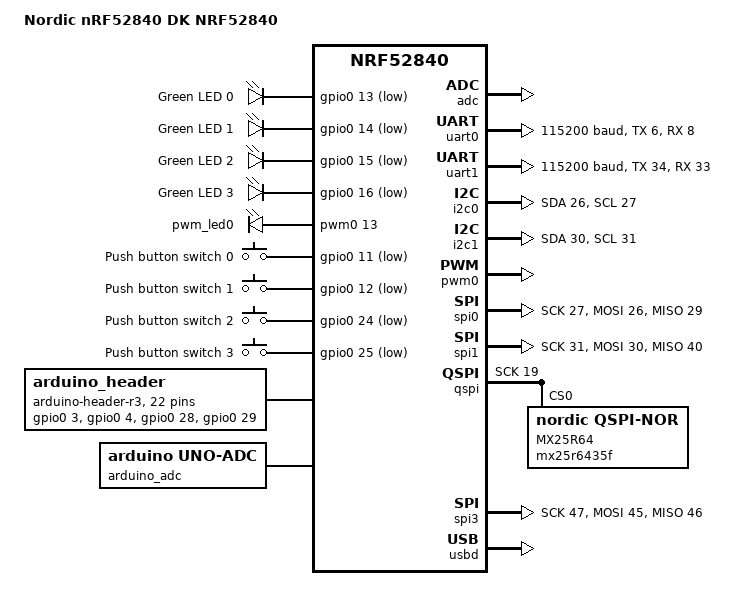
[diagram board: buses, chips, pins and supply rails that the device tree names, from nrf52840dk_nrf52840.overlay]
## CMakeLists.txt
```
# SPDX-License-Identifier: Apache-2.0

cmake_minimum_required(VERSION 3.13.1)

find_package(Zephyr REQUIRED HINTS $ENV{ZEPHYR_BASE})
project(zero_test)

# NORDIC SDK APP START
target_sources(app PRIVATE src/main.c)
target_sources(app PRIVATE src/dk_led_and_button.c)
target_sources(app PRIVATE src/uart.c)
target_sources(app PRIVATE src/blinky.c)
target_sources(app PRIVATE src/hello_world.c)
# NORDIC SDK APP END

zephyr_library_include_directories(.)
```

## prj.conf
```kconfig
# Enable the UART driver
CONFIG_UART_ASYNC_API=y
CONFIG_NRFX_UARTE0=y
CONFIG_SERIAL=y

CONFIG_GPIO=y

# Make sure printk is not printing to the UART console
CONFIG_CONSOLE=y
CONFIG_UART_CONSOLE=n

CONFIG_USE_SEGGER_RTT=y
CONFIG_RTT_CONSOLE=y



CONFIG_HEAP_MEM_POOL_SIZE=2048

# This example requires more workqueue stack
CONFIG_SYSTEM_WORKQUEUE_STACK_SIZE=2048

# Enable DK LED and Buttons library
CONFIG_DK_LIBRARY=y

# Config logger
CONFIG_LOG=y
CONFIG_USE_SEGGER_RTT=y
CONFIG_LOG_BACKEND_RTT=y
CONFIG_LOG_BACKEND_UART=n

CONFIG_ASSERT=y
```

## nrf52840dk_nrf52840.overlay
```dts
/*
 * Copyright (c) 2017 Linaro Limited
 *
 * SPDX-License-Identifier: Apache-2.0
 */

/dts-v1/;
#include <nordic/nrf52840_qiaa.dtsi>

/ {
	model = "Nordic nRF52840 DK NRF52840";
	compatible = "nordic,nrf52840-dk-nrf52840";

	chosen {
		zephyr,console = &uart0;
		zephyr,shell-uart = &uart0;
		zephyr,uart-mcumgr = &uart0;
		zephyr,bt-mon-uart = &uart0;
		zephyr,bt-c2h-uart = &uart0;
		zephyr,sram = &sram0;
		zephyr,flash = &flash0;
		zephyr,code-partition = &slot0_partition;
	};

	leds {
		compatible = "gpio-leds";
		led0: led_0 {
			gpios = <&gpio0 13 GPIO_ACTIVE_LOW>;
			label = "Green LED 0";
		};
		led1: led_1 {
			gpios = <&gpio0 14 GPIO_ACTIVE_LOW>;
			label = "Green LED 1";
		};
		led2: led_2 {
			gpios = <&gpio0 15 GPIO_ACTIVE_LOW>;
			label = "Green LED 2";
		};
		led3: led_3 {
			gpios = <&gpio0 16 GPIO_ACTIVE_LOW>;
			label = "Green LED 3";
		};
	};

	pwmleds {
		compatible = "pwm-leds";
		pwm_led0: pwm_led_0 {
			pwms = <&pwm0 13>;
		};
	};

	buttons {
		compatible = "gpio-keys";
		button0: button_0 {
			gpios = <&gpio0 11 (GPIO_PULL_UP | GPIO_ACTIVE_LOW)>;
			label = "Push button switch 0";
		};
		button1: button_1 {
			gpios = <&gpio0 12 (GPIO_PULL_UP | GPIO_ACTIVE_LOW)>;
			label = "Push button switch 1";
		};
		button2: button_2 {
			gpios = <&gpio0 24 (GPIO_PULL_UP | GPIO_ACTIVE_LOW)>;
			label = "Push button switch 2";
		};
		button3: button_3 {
			gpios = <&gpio0 25 (GPIO_PULL_UP | GPIO_ACTIVE_LOW)>;
			label = "Push button switch 3";
		};
	};

	arduino_header: connector {
		compatible = "arduino-header-r3";
		#gpio-cells = <2>;
		gpio-map-mask = <0xffffffff 0xffffffc0>;
		gpio-map-pass-thru = <0 0x3f>;
		gpio-map = <0 0 &gpio0 3 0>,	/* A0 */
			   <1 0 &gpio0 4 0>,	/* A1 */
			   <2 0 &gpio0 28 0>,	/* A2 */
			   <3 0 &gpio0 29 0>,	/* A3 */
			   <4 0 &gpio0 30 0>,	/* A4 */
			   <5 0 &gpio0 31 0>,	/* A5 */
			   <6 0 &gpio1 1 0>,	/* D0 */
			   <7 0 &gpio1 2 0>,	/* D1 */
			   <8 0 &gpio1 3 0>,	/* D2 */
			   <9 0 &gpio1 4 0>,	/* D3 */
			   <10 0 &gpio1 5 0>,	/* D4 */
			   <11 0 &gpio1 6 0>,	/* D5 */
			   <12 0 &gpio1 7 0>,	/* D6 */
			   <13 0 &gpio1 8 0>,	/* D7 */
			   <14 0 &gpio1 10 0>,	/* D8 */
			   <15 0 &gpio1 11 0>,	/* D9 */
			   <16 0 &gpio1 12 0>,	/* D10 */
			   <17 0 &gpio1 13 0>,	/* D11 */
			   <18 0 &gpio1 14 0>,	/* D12 */
			   <19 0 &gpio1 15 0>,	/* D13 */
			   <20 0 &gpio0 26 0>,	/* D14 */
			   <21 0 &gpio0 27 0>;	/* D15 */
	};

	arduino_adc: analog-connector {
		compatible = "arduino,uno-adc";
		#io-channel-cells = <1>;
		io-channel-map = <0 &adc 1>,	/* A0 = P0.3 = AIN1 */
				 <1 &adc 2>,	/* A1 = P0.4 = AIN2 */
				 <2 &adc 4>,	/* A2 = P0.28 = AIN4 */
				 <3 &adc 5>,	/* A3 = P0.29 = AIN5 */
				 <4 &adc 6>,	/* A4 = P0.30 = AIN6 */
				 <5 &adc 7>;	/* A5 = P0.31 = AIN7 */
	};

	/* These aliases are provided for compatibility with samples */
	aliases {
		led0 = &led0;
		led1 = &led1;
		led2 = &led2;
		led3 = &led3;
		pwm-led0 = &pwm_led0;
		sw0 = &button0;
		sw1 = &button1;
		sw2 = &button2;
		sw3 = &button3;
	};
};

&adc {
	status = "okay";
};

&gpiote {
	status = "okay";
};

&gpio0 {
	status = "okay";
};

&gpio1 {
	status = "okay";
};

&uart0 {
	compatible = "nordic,nrf-uarte";
	status = "okay";
	current-speed = <115200>;
	tx-pin = <6>;
	rx-pin = <8>;
	rts-pin = <5>;
	cts-pin = <7>;
};

arduino_serial: &uart1 {
	status = "okay";
	current-speed = <115200>;
	rx-pin = <33>;
	tx-pin = <34>;
};

arduino_i2c: &i2c0 {
	compatible = "nordic,nrf-twi";
	status = "okay";
	sda-pin = <26>;
	scl-pin = <27>;
};

&i2c1 {
	compatible = "nordic,nrf-twi";
	/* Cannot be used together with spi1. */
	/* status = "okay"; */
	sda-pin = <30>;
	scl-pin = <31>;
};

&pwm0 {
	status = "okay";
	ch0-pin = <13>;
	ch0-inverted;
};

&spi0 {
	compatible = "nordic,nrf-spi";
	/* Cannot be used together with i2c0. */
	/* status = "okay"; */
	sck-pin = <27>;
	mosi-pin = <26>;
	miso-pin = <29>;
};

&spi1 {
	compatible = "nordic,nrf-spi";
	status = "okay";
	sck-pin = <31>;
	mosi-pin = <30>;
	miso-pin = <40>;
};

&spi2 {
	compatible = "nordic,nrf-spi";
	status = "disabled";
	sck-pin = <19>;
	mosi-pin = <20>;
	miso-pin = <21>;
};

&qspi {
	status = "okay";
	sck-pin = <19>;
	io-pins = <20>, <21>, <22>, <23>;
	csn-pins = <17>;
	mx25r64: mx25r6435f@0 {
		compatible = "nordic,qspi-nor";
		reg = <0>;
		/* MX24R64 supports only pp and pp4io */
		writeoc = "pp4io";
		/* MX24R64 supports all readoc options */
		readoc = "read4io";
		sck-frequency = <8000000>;
		label = "MX25R64";
		jedec-id = [c2 28 17];
		sfdp-bfp = [
			e5 20 f1 ff  ff ff ff 03  44 eb 08 6b  08 3b 04 bb
			ee ff ff ff  ff ff 00 ff  ff ff 00 ff  0c 20 0f 52
			10 d8 00 ff  23 72 f5 00  82 ed 04 cc  44 83 68 44
			30 b0 30 b0  f7 c4 d5 5c  00 be 29 ff  f0 d0 ff ff
		];
		size = <67108864>;
		has-dpd;
		t-enter-dpd = <10000>;
		t-exit-dpd = <35000>;
	};
};

arduino_spi: &spi3 {
	status = "okay";
	sck-pin = <47>;
	miso-pin = <46>;
	mosi-pin = <45>;
	cs-gpios = <&arduino_header 16 GPIO_ACTIVE_LOW>; /* D10 */
};

&flash0 {

	partitions {
		compatible = "fixed-partitions";
		#address-cells = <1>;
		#size-cells = <1>;

		boot_partition: partition@0 {
			label = "mcuboot";
			reg = <0x000000000 0x0000C000>;
		};
		slot0_partition: partition@c000 {
			label = "image-0";
			reg = <0x0000C000 0x00067000>;
		};
		slot1_partition: partition@73000 {
			label = "image-1";
			reg = <0x00073000 0x00067000>;
		};
		scratch_partition: partition@da000 {
			label = "image-scratch";
			reg = <0x000da000 0x0001e000>;
		};

		/*
		 * The flash starting at 0x000f8000 and ending at
		 * 0x000fffff is reserved for use by the application.
		 */

		/*
		 * Storage partition will be used by FCB/LittleFS/NVS
		 * if enabled.
		 */
		storage_partition: partition@f8000 {
			label = "storage";
			reg = <0x000f8000 0x00008000>;
		};
	};
};

&usbd {
	compatible = "nordic,nrf-usbd";
	status = "okay";
};
```

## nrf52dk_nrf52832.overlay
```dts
&uart0 {
	compatible = "nordic,nrf-uarte";
};
```

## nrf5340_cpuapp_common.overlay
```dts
/*
 * Copyright (c) 2019-2020 Nordic Semiconductor ASA
 *
 * SPDX-License-Identifier: Apache-2.0
 */

/ {

	chosen {
		zephyr,console = &uart0;
		zephyr,shell-uart = &uart0;
		zephyr,uart-mcumgr = &uart0;
		zephyr,bt-mon-uart = &uart0;
		zephyr,bt-c2h-uart = &uart0;
	};

	leds {
		compatible = "gpio-leds";
		led0: led_0 {
			gpios = <&gpio0 28 GPIO_ACTIVE_LOW>;
			label = "Green LED 0";
		};
		led1: led_1 {
			gpios = <&gpio0 29 GPIO_ACTIVE_LOW>;
			label = "Green LED 1";
		};
		led2: led_2 {
			gpios = <&gpio0 30 GPIO_ACTIVE_LOW>;
			label = "Green LED 2";
		};
		led3: led_3 {
			gpios = <&gpio0 31 GPIO_ACTIVE_LOW>;
			label = "Green LED 3";
		};
	};

	buttons {
		compatible = "gpio-keys";
		button0: button_0 {
			gpios = <&gpio0 23 (GPIO_PULL_UP | GPIO_ACTIVE_LOW)>;
			label = "Push button 1";
		};
		button1: button_1 {
			gpios = <&gpio0 24 (GPIO_PULL_UP | GPIO_ACTIVE_LOW)>;
			label = "Push button 2";
		};
		button2: button_2 {
			gpios = <&gpio0 8 (GPIO_PULL_UP | GPIO_ACTIVE_LOW)>;
			label = "Push button 3";
		};
		button3: button_3 {
			gpios = <&gpio0 9 (GPIO_PULL_UP | GPIO_ACTIVE_LOW)>;
			label = "Push button 4";
		};
	};

	/* These aliases are provided for compatibility with samples */
	aliases {
		led0 = &led0;
		led1 = &led1;
		led2 = &led2;
		led3 = &led3;
		sw0 = &button0;
		sw1 = &button1;
		sw2 = &button2;
		sw3 = &button3;
	};
};

&adc {
	status = "okay";
};

&gpiote {
	status = "okay";
};

&gpio0 {
	status = "okay";
};

&gpio1 {
	status = "okay";
};

&i2c1 {
	compatible = "nordic,nrf-twim";
	status = "okay";
	sda-pin = <34>;
	scl-pin = <35>;
};

&uart0 {
	status = "okay";
	current-speed = <115200>;
	tx-pin = <20>;
	rx-pin = <22>;
	rts-pin = <19>;
	cts-pin = <21>;
};

&pwm0 {
	status = "okay";
	ch0-pin = <28>;
};

&qspi {
	status = "okay";
	sck-pin = <17>;
	io-pins = <13>, <14>, <15>, <16>;
	csn-pins = <18>;
	mx25r64: mx25r6435f@0 {
		compatible = "nordic,qspi-nor";
		reg = <0>;
		/* MX24R64 supports only pp and pp4io */
		writeoc = "pp4io";
		/* MX24R64 supports all readoc options */
		readoc = "read4io";
		sck-frequency = <8000000>;
		label = "MX25R64";
		jedec-id = [c2 28 17];
		sfdp-bfp = [
			e5 20 f1 ff  ff ff ff 03  44 eb 08 6b  08 3b 04 bb
			ee ff ff ff  ff ff 00 ff  ff ff 00 ff  0c 20 0f 52
			10 d8 00 ff  23 72 f5 00  82 ed 04 cc  44 83 68 44
			30 b0 30 b0  f7 c4 d5 5c  00 be 29 ff  f0 d0 ff ff
		];
		size = <67108864>;
		has-dpd;
		t-enter-dpd = <10000>;
		t-exit-dpd = <35000>;
	};
};

&timer0 {
	status = "okay";
};

&timer1 {
	status = "okay";
};

&timer2 {
	status = "okay";
};

&flash0 {

	partitions {
		compatible = "fixed-partitions";
		#address-cells = <1>;
		#size-cells = <1>;

		boot_partition: partition@0 {
			label = "mcuboot";
			reg = <0x00000000 0x00010000>;
		};
		slot0_partition: partition@10000 {
			label = "image-0";
		};
		slot0_ns_partition: partition@50000 {
			label = "image-0-nonsecure";
		};
		slot1_partition: partition@80000 {
			label = "image-1";
		};
		slot1_ns_partition: partition@c0000 {
			label = "image-1-nonsecure";
		};
		scratch_partition: partition@f0000 {
			label = "image-scratch";
			reg = <0x000f0000 0xa000>;
		};
		storage_partition: partition@fa000 {
			label = "storage";
			reg = <0x000fa000 0x00006000>;
		};
	};
};

/ {

	reserved-memory {
		#address-cells = <1>;
		#size-cells = <1>;
		ranges;

		sram0_image: image@20000000 {
			/* Zephyr image(s) memory */
		};

		sram0_s: image_s@20000000 {
			/* Secure image memory */
		};

		sram0_ns: image_ns@20040000 {
			/* Non-Secure image memory */
		};
	};
};

/* Include partition configuration file */
#include "nrf5340_cpuapp_partition_conf.dts"
```

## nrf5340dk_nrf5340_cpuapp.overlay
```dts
/*
&uart0 {
	compatible = "nordic,nrf-usbd";
};

&uart1 {
    status = "disabled";    
};
*/
```

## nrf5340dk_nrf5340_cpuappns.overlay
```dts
/*
 * Copyright (c) 2020 Nordic Semiconductor ASA
 *
 * SPDX-License-Identifier: Apache-2.0
 */

/dts-v1/;
#include <nordic/nrf5340_cpuappns_qkaa.dtsi>
#include "nrf5340_cpuapp_common.dts"

/ {
	model = "Nordic NRF5340 DK NRF5340 Application";
	compatible = "nordic,nrf5340-dk-nrf5340-cpuapp";

	chosen {
		zephyr,sram = &sram0_ns;
		zephyr,flash = &flash0;
		zephyr,code-partition = &slot0_ns_partition;
	};
};

&usbd {
	compatible = "nordic,nrf-usbd";
	status = "okay";
};
```

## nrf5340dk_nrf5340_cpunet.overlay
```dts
/*
 * Copyright (c) 2020 Nordic Semiconductor ASA
 *
 * SPDX-License-Identifier: Apache-2.0
 */

/dts-v1/;
#include <nordic/nrf5340_cpunet_qkaa.dtsi>

/ {
	model = "Nordic NRF5340 DK NRF5340 Network";
	compatible = "nordic,nrf5340-dk-nrf5340-cpunet";

	chosen {
		zephyr,console = &uart0;
		zephyr,shell-uart = &uart0;
		zephyr,uart-mcumgr = &uart0;
		zephyr,bt-mon-uart = &uart0;
		zephyr,bt-c2h-uart = &uart0;
		zephyr,sram = &sram1;
		zephyr,flash = &flash1;
		zephyr,code-partition = &slot0_partition;
	};

	leds {
		compatible = "gpio-leds";
		led0: led_0 {
			gpios = <&gpio0 28 GPIO_ACTIVE_LOW>;
			label = "Green LED 0";
		};
		led1: led_1 {
			gpios = <&gpio0 29 GPIO_ACTIVE_LOW>;
			label = "Green LED 1";
		};
		led2: led_2 {
			gpios = <&gpio0 30 GPIO_ACTIVE_LOW>;
			label = "Green LED 2";
		};
		led3: led_3 {
			gpios = <&gpio0 31 GPIO_ACTIVE_LOW>;
			label = "Green LED 3";
		};
	};

	buttons {
		compatible = "gpio-keys";
		button0: button_0 {
			gpios = <&gpio0 23 (GPIO_PULL_UP | GPIO_ACTIVE_LOW)>;
			label = "Push button 1";
		};
		button1: button_1 {
			gpios = <&gpio0 24 (GPIO_PULL_UP | GPIO_ACTIVE_LOW)>;
			label = "Push button 2";
		};
		button2: button_2 {
			gpios = <&gpio0 8 (GPIO_PULL_UP | GPIO_ACTIVE_LOW)>;
			label = "Push button 3";
		};
		button3: button_3 {
			gpios = <&gpio0 9 (GPIO_PULL_UP | GPIO_ACTIVE_LOW)>;
			label = "Push button 4";
		};
	};

	/* These aliases are provided for compatibility with samples */
	aliases {
		led0 = &led0;
		led1 = &led1;
		led2 = &led2;
		led3 = &led3;
		sw0 = &button0;
		sw1 = &button1;
		sw2 = &button2;
		sw3 = &button3;
	};
};

&gpiote {
	status = "okay";
};

&gpio0 {
	status = "okay";
};

&gpio1 {
	status = "okay";
};

&uart0 {
	status = "okay";
	current-speed = <115200>;
	tx-pin = <33>;
	rx-pin = <32>;
	rts-pin = <11>;
	cts-pin = <10>;
};

&timer0 {
	status = "okay";
};

&timer1 {
	status = "okay";
};

&timer2 {
	status = "okay";
};

&flash1 {

	partitions {
		compatible = "fixed-partitions";
		#address-cells = <1>;
		#size-cells = <1>;

		boot_partition: partition@0 {
			label = "mcuboot";
			reg = <0x00000000 0xc000>;
		};
		slot0_partition: partition@c000 {
			label = "image-0";
			reg = <0x0000C000 0x12000>;
		};
		slot1_partition: partition@1e000 {
			label = "image-1";
			reg = <0x0001E000 0x12000>;
		};
		scratch_partition: partition@30000 {
			label = "image-scratch";
			reg = <0x00030000 0xa000>;
		};
		storage_partition: partition@3a000 {
			label = "storage";
			reg = <0x0003a000 0x6000>;
		};
	};
};

/* Include shared RAM configuration file */
#include "nrf5340_shared_sram_planning_conf.dts"
```

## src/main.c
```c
/*
 * Copyright (c) 2012-2014 Wind River Systems, Inc.
 *
 * SPDX-License-Identifier: Apache-2.0
 */

#include <zephyr.h>
#include <logging/log.h>

#define LOG_MODULE_NAME main
LOG_MODULE_REGISTER(LOG_MODULE_NAME);

void main(void)
{
    LOG_INF("The device start,Run! borrd:%s", CONFIG_BOARD);
    while(1)
    {
        k_sleep(K_MSEC(1000));
    }
}
```

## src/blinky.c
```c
/*
 * Copyright (c) 2016 Intel Corporation
 *
 * SPDX-License-Identifier: Apache-2.0
 */

#include <zephyr.h>
#include <device.h>
#include <devicetree.h>
#include <drivers/gpio.h>

#include <logging/log.h>

#define LOG_MODULE_NAME blinky_thread
LOG_MODULE_REGISTER(LOG_MODULE_NAME);

/* 1000 msec = 1 sec */
#define SLEEP_TIME_MS   1000
#if 1

/* The devicetree node identifier for the "led2" alias. */
#define LED2_NODE DT_ALIAS(led2)

#if DT_NODE_HAS_STATUS(LED2_NODE, okay)
#define LED2	DT_GPIO_LABEL(LED2_NODE, gpios)
#define LED2_PIN	DT_GPIO_PIN(LED2_NODE, gpios)
#define LED2_FLAGS	DT_GPIO_FLAGS(LED2_NODE, gpios)
#else
/* A build error here means your board isn't set up to blink an LED. */
#error "Unsupported board: led2 devicetree alias is not defined"
#define LED2	""
#define LED2_PIN	0
#define LED2_FLAGS	0
#endif

#endif

#if 1
/* The devicetree node identifier for the "led3" alias. */
#define LED3_NODE DT_ALIAS(led3)

#if DT_NODE_HAS_STATUS(LED3_NODE, okay)
#define LED3	DT_GPIO_LABEL(LED3_NODE, gpios)
#define LED3_PIN	DT_GPIO_PIN(LED3_NODE, gpios)
#define LED3_FLAGS	DT_GPIO_FLAGS(LED3_NODE, gpios)
#else
/* A build error here means your board isn't set up to blink an LED. */
#error "Unsupported board: led3 devicetree alias is not defined"
#define LED3	""
#define LED3_PIN	0
#define LED3_FLAGS	0
#endif
#endif

void blinky_thread(void)
{
    const struct device *dev;
    bool led_is_on = true;
    int ret;

    dev = device_get_binding(LED3);
    dev = device_get_binding(LED2);
    if (dev == NULL) {
        return;
    }

    ret = gpio_pin_configure(dev, LED3_PIN, GPIO_OUTPUT_ACTIVE | LED3_FLAGS);
    ret = gpio_pin_configure(dev, LED2_PIN, GPIO_OUTPUT_ACTIVE | LED2_FLAGS);
    if (ret < 0) {
        return;
    }

    LOG_INF("blinky thread -> LED3 and LED4 1s loop flashing");
    while (1) {
        gpio_pin_set(dev, LED3_PIN, (int)led_is_on);
        gpio_pin_set(dev, LED2_PIN, (int)!led_is_on);
        led_is_on = !led_is_on;
        k_msleep(SLEEP_TIME_MS);
    }
}

K_THREAD_DEFINE(blinky_thread_id, 1024, blinky_thread, NULL, NULL,
        NULL, 7, 0, 0);
```

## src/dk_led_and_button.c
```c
/*
 * Copyright (c) 2012-2014 Wind River Systems, Inc.
 *
 * SPDX-License-Identifier: Apache-2.0
 */

#include <zephyr.h>
#include <device.h>
#include <devicetree.h>
#include <drivers/gpio.h>
#include <soc.h>
#include <dk_buttons_and_leds.h>
#include <logging/log.h>


#define LOG_MODULE_NAME dk_leds_buttons_thread
LOG_MODULE_REGISTER(LOG_MODULE_NAME);

#define RUN_STATUS_LED DK_LED1
#define RUN_LED_BLINK_INTERVAL 1000

#define CON_STATUS_LED DK_LED2


void button_changed(uint32_t button_state, uint32_t has_changed)
{
	uint32_t buttons = button_state & has_changed;

	
	if (buttons & DK_BTN1_MSK) {
		LOG_INF("dk button:1 press");		
	}

	if (buttons & DK_BTN2_MSK) {
		LOG_INF("dk button:2 press");
	}

	if (buttons & DK_BTN3_MSK) {
		LOG_INF("dk button:3 press");
	}

	if (buttons & DK_BTN4_MSK) {
		LOG_INF("dk button:4 press");
	}
}

static void configure_gpio(void)
{
	int err;

	err = dk_buttons_init(button_changed);
	if (err) {
		LOG_ERR("Cannot init buttons (err: %d)", err);
	}

	err = dk_leds_init();
	if (err) {
		LOG_ERR("Cannot init LEDs (err: %d)", err);
	}
}

void leds_buttons_thread(void)
{
    configure_gpio();
	LOG_INF("leds and buttons init done!");
}

K_THREAD_DEFINE(leds_buttons_thread_id, 1024, leds_buttons_thread, NULL, NULL,
        NULL, 7, 0, 0);
```

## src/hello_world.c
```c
/*
 * Copyright (c) 2012-2014 Wind River Systems, Inc.
 *
 * SPDX-License-Identifier: Apache-2.0
 */

#include <zephyr.h>
#include <sys/printk.h>
#include <logging/log.h>

#define LOG_MODULE_NAME hello_world_thread
LOG_MODULE_REGISTER(LOG_MODULE_NAME);

void hello_world_thread(void)
{
    LOG_INF("Print Hello World!");
#if 0
    while(1)
    {
        LOG_INF("Print Hello World!");
        k_sleep(K_SECONDS(10));
    }
#endif
}
K_THREAD_DEFINE(hello_world_id, 1024, hello_world_thread, NULL, NULL,
        NULL, 7, 0, 0);
```

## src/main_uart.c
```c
/*
 * Copyright (c) 2018 Nordic Semiconductor ASA
 *
 * SPDX-License-Identifier: LicenseRef-Nordic-5-Clause
 */

/** @file //zero add
 *  @brief Nordic UART sample
 */

#include <zephyr/types.h>
#include <zephyr.h>
#include <drivers/uart.h>

#include <device.h>
#include <soc.h>


#include <dk_buttons_and_leds.h>


#include <stdio.h>

#include <logging/log.h>

#define LOG_MODULE_NAME peripheral_uart
LOG_MODULE_REGISTER(LOG_MODULE_NAME);


#define RUN_STATUS_LED DK_LED1
#define RUN_LED_BLINK_INTERVAL 1000

#define CON_STATUS_LED DK_LED2

#define KEY_PASSKEY_ACCEPT DK_BTN1_MSK
#define KEY_PASSKEY_REJECT DK_BTN2_MSK

#define UART_BUF_SIZE 20
#define UART_WAIT_FOR_BUF_DELAY K_MSEC(50)
#define UART_WAIT_FOR_RX 50


static const struct device *uart;
static struct k_delayed_work uart_work;

struct uart_data_t {
	void *fifo_reserved;
	uint8_t data[UART_BUF_SIZE];
	uint16_t len;
};

static K_FIFO_DEFINE(fifo_uart_tx_data);
static K_FIFO_DEFINE(fifo_uart_rx_data);


static void uart_cb(const struct device *dev, struct uart_event *evt, void *user_data)
{
	ARG_UNUSED(dev);

	static uint8_t *current_buf;
	static size_t aborted_len;
	static bool buf_release;
	struct uart_data_t *buf;
	static uint8_t *aborted_buf;

	switch (evt->type) {
	case UART_TX_DONE:
		if ((evt->data.tx.len == 0) ||
		    (!evt->data.tx.buf)) {
			return;
		}

		if (aborted_buf) {
			buf = CONTAINER_OF(aborted_buf, struct uart_data_t,
					   data);
			aborted_buf = NULL;
			aborted_len = 0;
		} else {
			buf = CONTAINER_OF(evt->data.tx.buf, struct uart_data_t,
					   data);
		}

		k_free(buf);

		buf = k_fifo_get(&fifo_uart_tx_data, K_NO_WAIT);
		if (!buf) {
			return;
		}

		if (uart_tx(uart, buf->data, buf->len, SYS_FOREVER_MS)) {
			LOG_WRN("Failed to send data over UART");
		}

		break;

	case UART_RX_RDY:
		buf = CONTAINER_OF(evt->data.rx.buf, struct uart_data_t, data);
		buf->len += evt->data.rx.len;
		buf_release = false;

		if (buf->len == UART_BUF_SIZE) {
			k_fifo_put(&fifo_uart_rx_data, buf);
		} else if ((evt->data.rx.buf[buf->len - 1] == '\n') ||
			  (evt->data.rx.buf[buf->len - 1] == '\r')) {
			k_fifo_put(&fifo_uart_rx_data, buf);
			current_buf = evt->data.rx.buf;
			buf_release = true;
			uart_rx_disable(uart);
		}

		break;

	case UART_RX_DISABLED:
		buf = k_malloc(sizeof(*buf));
		if (buf) {
			buf->len = 0;
		} else {
			LOG_WRN("UART_RX_DISABLED -> Not able to allocate UART receive buffer");
			k_delayed_work_submit(&uart_work,
					      UART_WAIT_FOR_BUF_DELAY);
			return;
		}

		uart_rx_enable(uart, buf->data, sizeof(buf->data),
			       UART_WAIT_FOR_RX);

		break;

	case UART_RX_BUF_REQUEST:
		buf = k_malloc(sizeof(*buf));
		if (buf) {
			buf->len = 0;
			uart_rx_buf_rsp(uart, buf->data, sizeof(buf->data));
		} else {
			LOG_WRN("UART_RX_BUF_REQUEST -> Not able to allocate UART receive buffer");
		}

		break;

	case UART_RX_BUF_RELEASED:
		buf = CONTAINER_OF(evt->data.rx_buf.buf, struct uart_data_t,
				   data);
		if (buf_release && (current_buf != evt->data.rx_buf.buf)) {
			k_free(buf);
			buf_release = false;
			current_buf = NULL;
		}

		break;

	case UART_TX_ABORTED:
			if (!aborted_buf) {
				aborted_buf = (uint8_t *)evt->data.tx.buf;
			}

			aborted_len += evt->data.tx.len;
			buf = CONTAINER_OF(aborted_buf, struct uart_data_t,
					   data);

			uart_tx(uart, &buf->data[aborted_len],
				buf->len - aborted_len, SYS_FOREVER_MS);

		break;

	default:
		break;
	}
}

static void uart_work_handler(struct k_work *item)
{
	struct uart_data_t *buf;

	buf = k_malloc(sizeof(*buf));
	if (buf) {
		buf->len = 0;
	} else {
		LOG_WRN("uart_work_handler -> Not able to allocate UART receive buffer");
		k_delayed_work_submit(&uart_work, UART_WAIT_FOR_BUF_DELAY);
		return;
	}

	uart_rx_enable(uart, buf->data, sizeof(buf->data), UART_WAIT_FOR_RX);
}

static int uart_init(void)
{
	int err;
	struct uart_data_t *rx;

	uart = device_get_binding(DT_LABEL(DT_NODELABEL(uart0)));
	if (!uart) {
		return -ENXIO;
	}

	rx = k_malloc(sizeof(*rx));
	if (rx) {
		rx->len = 0;
	} else {
		return -ENOMEM;
	}

	k_delayed_work_init(&uart_work, uart_work_handler);

	err = uart_callback_set(uart, uart_cb, NULL);
	if (err) {
		return err;
	}

	return uart_rx_enable(uart, rx->data, sizeof(rx->data), 50);
}


void button_changed(uint32_t button_state, uint32_t has_changed)
{
	uint32_t buttons = button_state & has_changed;

	//if (auth_conn) {
		if (buttons & KEY_PASSKEY_ACCEPT) {
			LOG_INF("button: %d press", buttons);
		}

		if (buttons & KEY_PASSKEY_REJECT) {
			LOG_INF("button: %d press", buttons);
		}
	//}
}

static void configure_gpio(void)
{
	int err;

	err = dk_buttons_init(button_changed);
	if (err) {
		LOG_ERR("Cannot init buttons (err: %d)", err);
	}

	err = dk_leds_init();
	if (err) {
		LOG_ERR("Cannot init LEDs (err: %d)", err);
	}
}

void main(void)
{
	int err = 0;


	configure_gpio();
	LOG_INF("led and button init done!");

	
	err = uart_init();
	if (err) {
		LOG_ERR("Cannot init Uart (err: %d)", err);
	}
	LOG_INF("uart init done!");

	while(1) {
		/*Wait indefinitely for data to be sent over bluetooth */
		struct uart_data_t *buf = k_fifo_get(&fifo_uart_rx_data, K_FOREVER);

		if ((buf->data[buf->len - 1] == '\r') || (buf->data[buf->len - 1] == '\n')) {
			LOG_INF("data len = %d", buf->len );
			LOG_HEXDUMP_INF( buf->data, buf->len, "receive data : ");
		}

		k_free(buf);
	}
}
```

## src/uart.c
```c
/*
 * Copyright (c) 2018 Nordic Semiconductor ASA
 *
 * SPDX-License-Identifier: LicenseRef-Nordic-5-Clause
 */

/** @file //zero add
 *  @brief Nordic UART sample
 */

#include <zephyr/types.h>
#include <zephyr.h>
#include <drivers/uart.h>

#include <device.h>
#include <soc.h>


#include <dk_buttons_and_leds.h>


#include <stdio.h>

#include <logging/log.h>

#define LOG_MODULE_NAME peripheral_uart_thread
LOG_MODULE_REGISTER(LOG_MODULE_NAME);

#define UART_BUF_SIZE 20
#define UART_WAIT_FOR_BUF_DELAY K_MSEC(50)
#define UART_WAIT_FOR_RX 50


static const struct device *uart;
static struct k_delayed_work uart_work;

struct uart_data_t {
	void *fifo_reserved;
	uint8_t data[UART_BUF_SIZE];
	uint16_t len;
};

static K_FIFO_DEFINE(fifo_uart_tx_data);
static K_FIFO_DEFINE(fifo_uart_rx_data);


static void uart_cb(const struct device *dev, struct uart_event *evt, void *user_data)
{
	ARG_UNUSED(dev);

	static uint8_t *current_buf;
	static size_t aborted_len;
	static bool buf_release;
	struct uart_data_t *buf;
	static uint8_t *aborted_buf;

	switch (evt->type) {
	case UART_TX_DONE:
		LOG_INF("UART send event");
		if ((evt->data.tx.len == 0) ||
		    (!evt->data.tx.buf)) {
			return;
		}

		if (aborted_buf) {
			buf = CONTAINER_OF(aborted_buf, struct uart_data_t,
					   data);
			aborted_buf = NULL;
			aborted_len = 0;
		} else {
			buf = CONTAINER_OF(evt->data.tx.buf, struct uart_data_t,
					   data);
		}

		k_free(buf);

		buf = k_fifo_get(&fifo_uart_tx_data, K_NO_WAIT);
		if (!buf) {
			return;
		}

		if (uart_tx(uart, buf->data, buf->len, SYS_FOREVER_MS)) {
			LOG_WRN("Failed to send data over UART");
		}

		break;

	case UART_RX_RDY:
		LOG_INF("UART receive event");

		buf = CONTAINER_OF(evt->data.rx.buf, struct uart_data_t, data);
		buf->len += evt->data.rx.len;
		buf_release = false;

		if (buf->len == UART_BUF_SIZE) {
			k_fifo_put(&fifo_uart_rx_data, buf);
		} else if ((evt->data.rx.buf[buf->len - 1] == '\n') ||
			  (evt->data.rx.buf[buf->len - 1] == '\r')) {
			k_fifo_put(&fifo_uart_rx_data, buf);
			current_buf = evt->data.rx.buf;
			buf_release = true;
			uart_rx_disable(uart);
		}

		break;

	case UART_RX_DISABLED:
		buf = k_malloc(sizeof(*buf));
		if (buf) {
			buf->len = 0;
		} else {
			LOG_WRN("UART_RX_DISABLED -> Not able to allocate UART receive buffer");
			k_delayed_work_submit(&uart_work,
					      UART_WAIT_FOR_BUF_DELAY);
			return;
		}

		uart_rx_enable(uart, buf->data, sizeof(buf->data),
			       UART_WAIT_FOR_RX);

		break;

	case UART_RX_BUF_REQUEST:
		buf = k_malloc(sizeof(*buf));
		if (buf) {
			buf->len = 0;
			uart_rx_buf_rsp(uart, buf->data, sizeof(buf->data));
		} else {
			LOG_WRN("UART_RX_BUF_REQUEST -> Not able to allocate UART receive buffer");
		}

		break;

	case UART_RX_BUF_RELEASED:
		buf = CONTAINER_OF(evt->data.rx_buf.buf, struct uart_data_t,
				   data);
		if (buf_release && (current_buf != evt->data.rx_buf.buf)) {
			k_free(buf);
			buf_release = false;
			current_buf = NULL;
		}

		break;

	case UART_TX_ABORTED:
			if (!aborted_buf) {
				aborted_buf = (uint8_t *)evt->data.tx.buf;
			}

			aborted_len += evt->data.tx.len;
			buf = CONTAINER_OF(aborted_buf, struct uart_data_t,
					   data);

			uart_tx(uart, &buf->data[aborted_len],
				buf->len - aborted_len, SYS_FOREVER_MS);

		break;

	default:
		break;
	}
}

static void uart_work_handler(struct k_work *item)
{
	struct uart_data_t *buf;

	buf = k_malloc(sizeof(*buf));
	if (buf) {
		buf->len = 0;
	} else {
		LOG_WRN("uart_work_handler -> Not able to allocate UART receive buffer");
		k_delayed_work_submit(&uart_work, UART_WAIT_FOR_BUF_DELAY);
		return;
	}

	uart_rx_enable(uart, buf->data, sizeof(buf->data), UART_WAIT_FOR_RX);
}

static int uart_init(void)
{
	int err;
	struct uart_data_t *rx;

	uart = device_get_binding(DT_LABEL(DT_NODELABEL(uart0)));
	if (!uart) {
		return -ENXIO;
	}

	rx = k_malloc(sizeof(*rx));
	if (rx) {
		rx->len = 0;
	} else {
		return -ENOMEM;
	}

	k_delayed_work_init(&uart_work, uart_work_handler);

	err = uart_callback_set(uart, uart_cb, NULL);
	if (err) {
		return err;
	}

	return uart_rx_enable(uart, rx->data, sizeof(rx->data), 50);
}

void peripheral_uart_thread(void)
{
	int err = 0;

	err = uart_init();
	if (err) {
		LOG_ERR("Cannot init Uart (err: %d)", err);
	}
	LOG_INF("uart init done!");

	while(1) {
		/*Wait indefinitely for data to be sent over bluetooth */
		struct uart_data_t *rx_buf = k_fifo_get(&fifo_uart_rx_data, K_FOREVER);

		if ((rx_buf->data[rx_buf->len - 1] == '\r') || (rx_buf->data[rx_buf->len - 1] == '\n')) {
		//if(rx_buf->len != 0){
			LOG_INF("data len = %d", rx_buf->len);
			LOG_HEXDUMP_INF( rx_buf->data, rx_buf->len, "receive data : ");

			err = uart_tx(uart, rx_buf->data, rx_buf->len, SYS_FOREVER_MS);
			if(err) {
				k_fifo_put(&fifo_uart_tx_data, rx_buf);
			}
		}
		//k_free(rx_buf);
	}
}
K_THREAD_DEFINE(peripheral_uart_thread_id, 1024, peripheral_uart_thread, NULL, NULL,
        NULL, 7, 0, 0);
```
